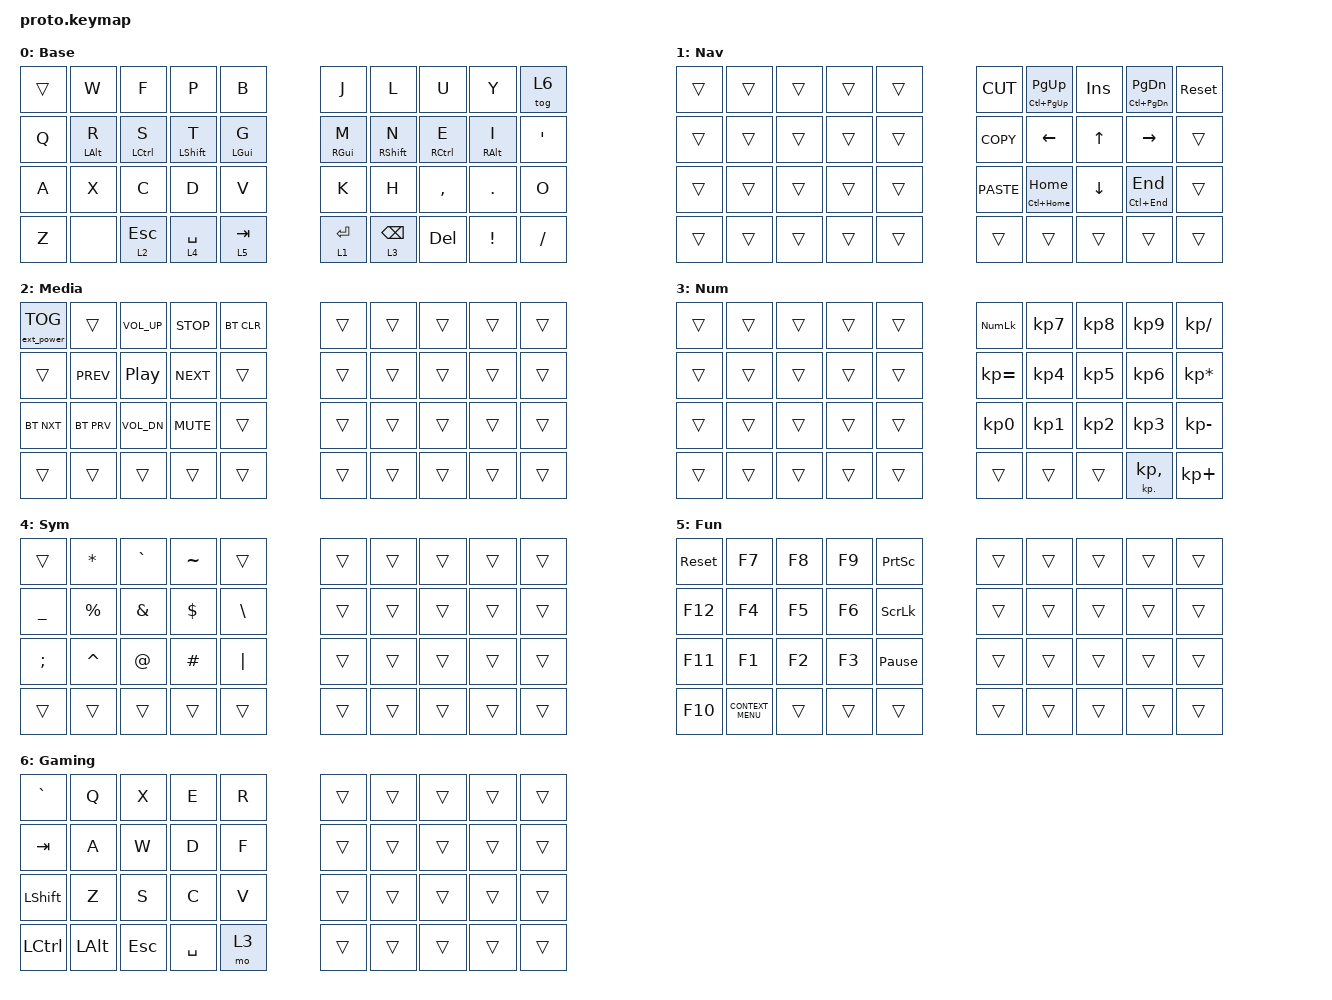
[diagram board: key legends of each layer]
/*
 * Copyright (c) 2020 The ZMK Contributors
 *
 * SPDX-License-Identifier: MIT
 */

#include <behaviors.dtsi>
#include <dt-bindings/zmk/bt.h>
#include <dt-bindings/zmk/ext_power.h>
#include <dt-bindings/zmk/keys.h>

/ {
    combos {
        compatible = "zmk,combos";

        braceL {
            bindings = <&kp LEFT_BRACE>;
            key-positions = <4 14>;
            layers = <0>;
        };

        parenL {
            bindings = <&kp LEFT_PARENTHESIS>;
            key-positions = <3 13>;
            layers = <0>;
        };

        brackL {
            bindings = <&kp LEFT_BRACKET>;
            key-positions = <12 2>;
            layers = <0>;
        };

        braceR {
            bindings = <&kp RIGHT_BRACE>;
            key-positions = <5 15>;
            layers = <0>;
        };

        parenR {
            bindings = <&kp RIGHT_PARENTHESIS>;
            key-positions = <6 16>;
            layers = <0>;
        };

        brackR {
            bindings = <&kp RIGHT_BRACKET>;
            key-positions = <7 17>;
            layers = <0>;
        };

        bootloadL {
            bindings = <&bootloader>;
            key-positions = <0 1>;
            layers = <5>;
        };

        bootloadR {
            bindings = <&bootloader>;
            key-positions = <9 8>;
            layers = <1>;
        };
    };

    keymap {
        compatible = "zmk,keymap";

        Base {
            // -----------------------------------------------------------------------------------------
            // |  TAB |  Q  |  W  |  E  |  R  |  T  |   |  Y  |  U   |  I  |  O  |  P  | BKSP |
            // | CTRL |  A  |  S  |  D  |  F  |  G  |   |  H  |  J   |  K  |  L  |  ;  |  '   |
            // | SHFT |  Z  |  X  |  C  |  V  |  B  |   |  N  |  M   |  ,  |  .  |  /  | ESC  |
            //                    | GUI | LWR | SPC |   | ENT | RSE  | ALT |

            bindings = <
&trans           &kp W        &kp F             &kp P           &kp B                                    &kp J              &kp L        &kp U            &kp Y     &tog 6
 &kp Q  &mt LEFT_ALT R  &mt LCTRL S  &mt LEFT_SHIFT T  &mt LEFT_GUI G                          &mt RIGHT_GUI M  &mt RIGHT_SHIFT N  &mt RCTRL E  &mt RIGHT_ALT I    &kp SQT
 &kp A           &kp X        &kp C             &kp D           &kp V                                    &kp K              &kp H    &kp COMMA          &kp DOT      &kp O
 &kp Z          &none                       &lt 2 ESC     &lt 4 SPACE  &lt 5 TAB  &lt 1 ENTER  &lt 3 BACKSPACE            &kp DEL               &kp EXCLAMATION  &kp SLASH
            >;
        };

        Nav {
            bindings = <
&trans  &trans  &trans  &trans  &trans                    &kp K_CUT  &mt LC(PAGE_UP) PAGE_UP         &kp INS  &mt LC(PAGE_DOWN) PAGE_DOWN  &sys_reset
&trans  &trans  &trans  &trans  &trans                   &kp K_COPY           &kp LEFT_ARROW    &kp UP_ARROW              &kp RIGHT_ARROW      &trans
&trans  &trans  &trans  &trans  &trans                  &kp K_PASTE        &mt LC(HOME) HOME  &kp DOWN_ARROW              &mt LC(END) END      &trans
&trans  &trans          &trans  &trans  &trans  &trans       &trans                   &trans                                       &trans      &trans
            >;

            label = "Nav";
        };

        Media {
            bindings = <
&ext_power EP_TOG      &trans   &kp C_VOLUME_UP  &kp C_STOP  &bt BT_CLR                  &trans  &trans  &trans  &trans  &trans
           &trans  &kp C_PREV  &kp C_PLAY_PAUSE  &kp C_NEXT      &trans                  &trans  &trans  &trans  &trans  &trans
       &bt BT_NXT  &bt BT_PRV      &kp C_VOL_DN  &kp C_MUTE      &trans                  &trans  &trans  &trans  &trans  &trans
           &trans      &trans                        &trans      &trans  &trans  &trans  &trans  &trans          &trans  &trans
            >;

            label = "Media";
        };

        Num {
            bindings = <
&trans  &trans  &trans  &trans  &trans                   &kp KP_NUMLOCK  &kp KP_NUMBER_7  &kp KP_NUMBER_8      &kp KP_NUMBER_9    &kp KP_DIVIDE
&trans  &trans  &trans  &trans  &trans                     &kp KP_EQUAL  &kp KP_NUMBER_4  &kp KP_NUMBER_5      &kp KP_NUMBER_6  &kp KP_MULTIPLY
&trans  &trans  &trans  &trans  &trans                  &kp KP_NUMBER_0  &kp KP_NUMBER_1  &kp KP_NUMBER_2      &kp KP_NUMBER_3  &kp KP_SUBTRACT
&trans  &trans          &trans  &trans  &trans  &trans           &trans           &trans                   &mt KP_DOT KP_COMMA      &kp KP_PLUS
            >;

            label = "Num";
        };

        Sym {
            bindings = <
       &trans  &kp ASTERISK    &kp GRAVE  &kp TILDE         &trans                  &trans  &trans  &trans  &trans  &trans
    &kp UNDER     &kp PRCNT     &kp AMPS   &kp DLLR  &kp BACKSLASH                  &trans  &trans  &trans  &trans  &trans
&kp SEMICOLON     &kp CARET  &kp AT_SIGN   &kp HASH       &kp PIPE                  &trans  &trans  &trans  &trans  &trans
       &trans        &trans                  &trans         &trans  &trans  &trans  &trans  &trans          &trans  &trans
            >;

            label = "Sym";
        };

        Fun {
            bindings = <
&sys_reset              &kp F7  &kp F8  &kp F9  &kp PRINTSCREEN                  &trans  &trans  &trans  &trans  &trans
   &kp F12              &kp F4  &kp F5  &kp F6   &kp SCROLLLOCK                  &trans  &trans  &trans  &trans  &trans
   &kp F11              &kp F1  &kp F2  &kp F3  &kp PAUSE_BREAK                  &trans  &trans  &trans  &trans  &trans
   &kp F10  &kp K_CONTEXT_MENU          &trans           &trans  &trans  &trans  &trans  &trans          &trans  &trans
            >;

            label = "Fun";
        };

        Gaming {
            bindings = <
&kp GRAVE         &kp Q  &kp X    &kp E      &kp R                 &trans  &trans  &trans  &trans  &trans
  &kp TAB         &kp A  &kp W    &kp D      &kp F                 &trans  &trans  &trans  &trans  &trans
&kp LSHFT         &kp Z  &kp S    &kp C      &kp V                 &trans  &trans  &trans  &trans  &trans
&kp LCTRL  &kp LEFT_ALT         &kp ESC  &kp SPACE  &mo 3  &trans  &trans  &trans          &trans  &trans
            >;

            label = "Gaming";
        };
    };
};
